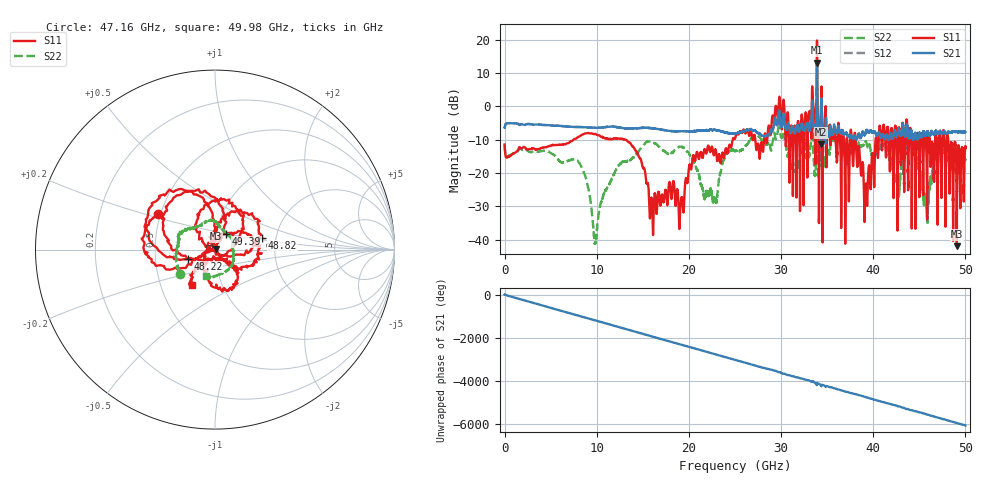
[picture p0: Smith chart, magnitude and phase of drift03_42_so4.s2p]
!Created with skrf (http://scikit-rf.org).
# Hz S RI R 50.0
!freq ReS11 ImS11 ReS21 ImS21 ReS12 ImS12 ReS22 ImS22
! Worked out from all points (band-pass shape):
!   10001 points, 300 kHz to 50 GHz, reference 50 ohm
!   highest |S21| = 13.09 dB at 33.9 GHz (marker M1); lowest = -11.4 dB at 34.32 GHz (marker M2)
!   |S21| within 3 dB of the highest: 33.88989 GHz to 33.9054 GHz (15.51 MHz wide, 0.0458 % of centre)
!   lowest |S11| = -41.9 dB at 49.07 GHz (marker M3), VSWR 1.02, Z = 50.6 + j0.497 ohm
!   |S11| at or under -10 dB: start of sweep to 7.485 GHz; 13.14 GHz to 24.74 GHz (11.6 GHz wide, 61.3 % of centre); 38.09 GHz to 40.25 GHz (2.162 GHz wide, 5.52 % of centre) (the widest 3 of 47)
!   |S22| runs from -41.3 to 5.5 dB; largest |S21 - S12| = 0.34
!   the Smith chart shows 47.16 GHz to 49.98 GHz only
!   S11 on the Smith chart (normalised r, x): 47.16 GHz: 0.49, +0.22; 48.22 GHz: 0.73, -0.08; 48.82 GHz: 1.69, +0.24; 49.39 GHz: 1.11, +0.20; 49.98 GHz: 0.72, -0.30
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300000  -0.2389 -0.1205  0.4689 0.0784  0.4664 0.0788  -0.2365 -0.1247
1.440291e9  0.2102 0.0649  -0.5481 -0.0294  -0.548 -0.0292  0.2113 -0.0041
2.915283e9  -0.2121 -0.0881  0.5345 0.0514  0.5343 0.0517  -0.2023 0.0401
4.415274e9  0.2058 0.1323  -0.5222 -0.0426  -0.5221 -0.042  0.1981 -0.0872
8.33525e9  0.2886 -0.2337  0.1461 0.4659  0.146 0.4663  -0.0727 -0.1014
9.845241e9  -0.3636 0.1287  -0.1476 -0.4523  -0.1483 -0.4526  0.0084 0.00225
1.66702e10  0.0269 0.0437  -0.3786 0.2528  -0.3791 0.2531  -0.1277 -0.2199
2.500015e10  -0.3265 -0.0154  -0.2554 -0.2978  -0.2533 -0.299  -0.2113 0.0267
2.895513e10  -0.3271 0.4326  -0.29 0.3254  -0.299 0.2898  0.0648 0.221
3.006512e10  0.4006 0.2652  0.4507 -0.1966  0.4543 -0.1832  0.1756 -0.2973
3.171011e10  -0.0903 0.188  -0.3612 0.3559  -0.3632 0.3532  0.0644 0.159
3.33351e10  0.6357 -0.7766  0.2697 -0.8363  0.2685 -0.8135  -0.1789 -0.4267
3.38951e10  -2.852 -9.285  -4.412 0.9547  -4.119 1.135  0.5636 1.804
3.432009e10  -0.7798 -0.00161  -0.1811 0.1997  -0.2418 0.179  0.1434 -0.0738
4.167005e10  -0.2037 0.3006  0.3143 0.00267  0.3145 0.0101  -0.1945 -0.0113
4.715502e10  -0.3157 0.1973  0.2535 0.32  0.2496 0.3182  -0.1935 -0.1338
4.822001e10  -0.1519 -0.0527  0.1289 -0.3926  0.1322 -0.3939  -0.0212 0.1649
4.881501e10  0.2626 0.0669  -0.351 -0.2214  -0.3505 -0.2192  0.1011 0.0542
4.907001e10  0.00633 0.00491  -0.4189 -0.0192  -0.4208 -0.0224  0.0985 0.0121
4.939e10  0.0613 0.0868  -0.3395 0.2393  -0.3382 0.2398  0.1009 -0.0616
4.998e10  -0.1294 -0.1979  0.1218 0.3942  0.1212 0.3939  -0.0508 -0.1484
5e10  -0.121 -0.2231  0.1418 0.3865  0.143 0.3831  -0.0534 -0.1446
